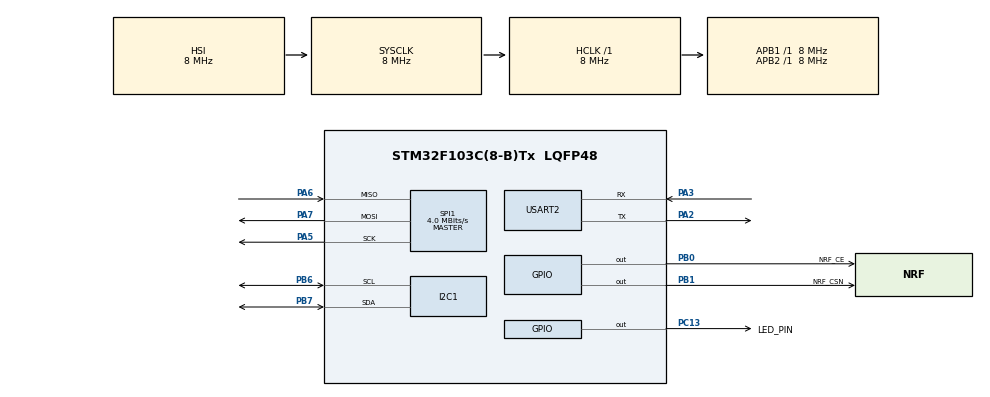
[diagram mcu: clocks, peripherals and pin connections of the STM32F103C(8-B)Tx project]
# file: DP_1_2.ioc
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Mcu.Family=STM32F1
Mcu.Name=STM32F103C(8-B)Tx
Mcu.Package=LQFP48
NVIC.PriorityGroup=NVIC_PRIORITYGROUP_4
NVIC.USART2_IRQn=true\:0\:0\:false\:false\:true\:true\:true\:true
PA13.Mode=Serial_Wire
PA13.Signal=SYS_JTMS-SWDIO
PA14.Mode=Serial_Wire
PA14.Signal=SYS_JTCK-SWCLK
PA2.Mode=Asynchronous
PA2.Signal=USART2_TX
PA3.Mode=Asynchronous
PA3.Signal=USART2_RX
PA5.Mode=Full_Duplex_Master
PA5.Signal=SPI1_SCK
PA6.Mode=Full_Duplex_Master
PA6.Signal=SPI1_MISO
PA7.Mode=Full_Duplex_Master
PA7.Signal=SPI1_MOSI
PB0.GPIO_Label=NRF_CE
PB0.Signal=GPIO_Output
PB1.GPIO_Label=NRF_CSN
PB1.Signal=GPIO_Output
PB6.Mode=I2C
PB6.Signal=I2C1_SCL
PB7.Mode=I2C
PB7.Signal=I2C1_SDA
PC13-TAMPER-RTC.GPIO_Label=LED_PIN
PC13-TAMPER-RTC.Signal=GPIO_Output
ProjectManager.HeapSize=0x200
ProjectManager.StackSize=0x400
ProjectManager.TargetToolchain=STM32CubeIDE
RCC.AHBFreq_Value=8000000
RCC.APB1Freq_Value=8000000
RCC.APB1TimFreq_Value=8000000
RCC.APB2Freq_Value=8000000
RCC.APB2TimFreq_Value=8000000
RCC.HCLKFreq_Value=8000000
RCC.SYSCLKFreq_VALUE=8000000
RCC.USBFreq_Value=8000000
SPI1.CalculateBaudRate=4.0 MBits/s
SPI1.Direction=SPI_DIRECTION_2LINES
SPI1.Mode=SPI_MODE_MASTER
SPI1.VirtualType=VM_MASTER
USART2.VirtualMode=VM_ASYNC
board=custom

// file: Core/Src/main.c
/* USER CODE BEGIN Header */
/**
 ******************************************************************************
 * @file           : main.c
 * @brief          : Main program body
 ******************************************************************************
 * @attention
 *
 * Copyright (c) 2024 STMicroelectronics.
 * All rights reserved.
 *
 * This software is licensed under terms that can be found in the LICENSE file
 * in the root directory of this software component.
 * If no LICENSE file comes with this software, it is provided AS-IS.
 *
 ******************************************************************************
 */
/* USER CODE END Header */
#include "main.h"

/* USER CODE BEGIN Includes */
#include<stdbool.h>
#include "utility.h"
#include "ee.h"
#include "nrf_helper.h"
#include "ADP8XX_DP_SENSOR.h"
/* USER CODE END Includes */

/* USER CODE BEGIN PD */
#define Debug_Port &huart2
#define PIPE_ADDR_FOR_NRF 0X800F000

/* USER CODE END PD */

I2C_HandleTypeDef hi2c1;

SPI_HandleTypeDef hspi1;

UART_HandleTypeDef huart2;

void SystemClock_Config(void);
static void MX_GPIO_Init(void);
static void MX_SPI1_Init(void);
static void MX_USART2_UART_Init(void);
static void MX_I2C1_Init(void);

/* USER CODE BEGIN 0 */
/*============HANDLE DEBUG PORT DATA===============*/
uint8_t rx_buffer_pos;
uint8_t rx_data[2];
uint8_t received_data_from_UART[32];
bool data_avlbl_from_UART_to_read = false;
extern uint64_t My_Pipe_Address;
/* USER CODE END 0 */

int main(void) {

	/* MCU Configuration--------------------------------------------------------*/

	/* Reset of all peripherals, Initializes the Flash interface and the Systick. */
	HAL_Init();

	/* Configure the system clock */
	SystemClock_Config();

	/* Initialize all configured peripherals */
	MX_GPIO_Init();
	MX_SPI1_Init();
	MX_USART2_UART_Init();
	MX_I2C1_Init();
	/* USER CODE BEGIN 2 */
	HAL_UART_Receive_IT(Debug_Port, (uint8_t*) rx_data, 1);
	Print_Debug_Data((char*) "[SETUP STAGE] MSIOT DP SENSOR STARTED\n");
	uint64_t READ_PIPE_ADRESS = ee_read_64(PIPE_ADDR_FOR_NRF);
	My_Pipe_Address = READ_PIPE_ADRESS;
	nrf_init();
	HAL_StatusTypeDef DP_STATUS = dp_sens_init();
	if (DP_STATUS != HAL_OK) {
		Print_Debug_Data((char*) "[SETUP] DP SENSOR INIT ERROR \n");
		return;
	}
	Print_Debug_Data((char*) "[SETUP] COMPLETED\n");
	/* USER CODE END 2 */

	/* Infinite loop */
	while (1) {

		/* USER CODE BEGIN 3 */
		HAL_GPIO_TogglePin(LED_PIN_GPIO_Port, LED_PIN_Pin);
		HAL_Delay(100);
		//CHECK FOR DATA FROM UART PORT
		if (data_avlbl_from_UART_to_read) {
			Print_Debug_Data(
					(char*) "\nMSG received from UART DEBUG PORT ::> ");
			HAL_UART_Transmit(&huart2, received_data_from_UART, 32, 100);
			Print_Debug_Data((char*) "\n");
			Manage_Received_Data_From_UART((uint8_t*) received_data_from_UART,
					32);
			//AFTER USING THE DATA CLEAR THE RX BUFFER
			uint8_t i;
			if (rx_buffer_pos == 0) { //RESET THE BUFFER ONLY WHEN RX { BUFFER == 0 }
				for (i = 0; i < 20; i++)
					received_data_from_UART[i] = 0;
			}
			data_avlbl_from_UART_to_read = false;
		}
		//CHECK FOR DATA FROM NRF
		if (NRF24_available()) {
			HANDLE_RECEIVED_MESSAGE_FROM_GATEWAY();
		}
	}
	/* USER CODE END 3 */
}

void SystemClock_Config(void) {
	RCC_OscInitTypeDef RCC_OscInitStruct = { 0 };
	RCC_ClkInitTypeDef RCC_ClkInitStruct = { 0 };

	/** Initializes the RCC Oscillators according to the specified parameters
	 * in the RCC_OscInitTypeDef structure.
	 */
	RCC_OscInitStruct.OscillatorType = RCC_OSCILLATORTYPE_HSI;
	RCC_OscInitStruct.HSIState = RCC_HSI_ON;
	RCC_OscInitStruct.HSICalibrationValue = RCC_HSICALIBRATION_DEFAULT;
	RCC_OscInitStruct.PLL.PLLState = RCC_PLL_NONE;
	if (HAL_RCC_OscConfig(&RCC_OscInitStruct) != HAL_OK) {
		Error_Handler();
	}

	/** Initializes the CPU, AHB and APB buses clocks
	 */
	RCC_ClkInitStruct.ClockType = RCC_CLOCKTYPE_HCLK | RCC_CLOCKTYPE_SYSCLK
			| RCC_CLOCKTYPE_PCLK1 | RCC_CLOCKTYPE_PCLK2;
	RCC_ClkInitStruct.SYSCLKSource = RCC_SYSCLKSOURCE_HSI;
	RCC_ClkInitStruct.AHBCLKDivider = RCC_SYSCLK_DIV1;
	RCC_ClkInitStruct.APB1CLKDivider = RCC_HCLK_DIV1;
	RCC_ClkInitStruct.APB2CLKDivider = RCC_HCLK_DIV1;

	if (HAL_RCC_ClockConfig(&RCC_ClkInitStruct, FLASH_LATENCY_0) != HAL_OK) {
		Error_Handler();
	}
}

static void MX_I2C1_Init(void) {

	hi2c1.Instance = I2C1;
	hi2c1.Init.ClockSpeed = 100000;
	hi2c1.Init.DutyCycle = I2C_DUTYCYCLE_2;
	hi2c1.Init.OwnAddress1 = 0;
	hi2c1.Init.AddressingMode = I2C_ADDRESSINGMODE_7BIT;
	hi2c1.Init.DualAddressMode = I2C_DUALADDRESS_DISABLE;
	hi2c1.Init.OwnAddress2 = 0;
	hi2c1.Init.GeneralCallMode = I2C_GENERALCALL_DISABLE;
	hi2c1.Init.NoStretchMode = I2C_NOSTRETCH_DISABLE;
	if (HAL_I2C_Init(&hi2c1) != HAL_OK) {
		Error_Handler();
	}

}

static void MX_SPI1_Init(void) {

	/* SPI1 parameter configuration*/
	hspi1.Instance = SPI1;
	hspi1.Init.Mode = SPI_MODE_MASTER;
	hspi1.Init.Direction = SPI_DIRECTION_2LINES;
	hspi1.Init.DataSize = SPI_DATASIZE_8BIT;
	hspi1.Init.CLKPolarity = SPI_POLARITY_LOW;
	hspi1.Init.CLKPhase = SPI_PHASE_1EDGE;
	hspi1.Init.NSS = SPI_NSS_SOFT;
	hspi1.Init.BaudRatePrescaler = SPI_BAUDRATEPRESCALER_2;
	hspi1.Init.FirstBit = SPI_FIRSTBIT_MSB;
	hspi1.Init.TIMode = SPI_TIMODE_DISABLE;
	hspi1.Init.CRCCalculation = SPI_CRCCALCULATION_DISABLE;
	hspi1.Init.CRCPolynomial = 10;
	if (HAL_SPI_Init(&hspi1) != HAL_OK) {
		Error_Handler();
	}

}

static void MX_USART2_UART_Init(void) {

	huart2.Instance = USART2;
	huart2.Init.BaudRate = 115200;
	huart2.Init.WordLength = UART_WORDLENGTH_8B;
	huart2.Init.StopBits = UART_STOPBITS_1;
	huart2.Init.Parity = UART_PARITY_NONE;
	huart2.Init.Mode = UART_MODE_TX_RX;
	huart2.Init.HwFlowCtl = UART_HWCONTROL_NONE;
	huart2.Init.OverSampling = UART_OVERSAMPLING_16;
	if (HAL_UART_Init(&huart2) != HAL_OK) {
		Error_Handler();
	}

}

static void MX_GPIO_Init(void) {
	GPIO_InitTypeDef GPIO_InitStruct = { 0 };

	/* GPIO Ports Clock Enable */
	__HAL_RCC_GPIOC_CLK_ENABLE();
	__HAL_RCC_GPIOA_CLK_ENABLE();
	__HAL_RCC_GPIOB_CLK_ENABLE();

	/*Configure GPIO pin Output Level */
	HAL_GPIO_WritePin(LED_PIN_GPIO_Port, LED_PIN_Pin, GPIO_PIN_RESET);

	/*Configure GPIO pin Output Level */
	HAL_GPIO_WritePin(GPIOB, NRF_CE_Pin | NRF_CSN_Pin, GPIO_PIN_RESET);

	/*Configure GPIO pin : LED_PIN_Pin */
	GPIO_InitStruct.Pin = LED_PIN_Pin;
	GPIO_InitStruct.Mode = GPIO_MODE_OUTPUT_PP;
	GPIO_InitStruct.Pull = GPIO_NOPULL;
	GPIO_InitStruct.Speed = GPIO_SPEED_FREQ_LOW;
	HAL_GPIO_Init(LED_PIN_GPIO_Port, &GPIO_InitStruct);

	/*Configure GPIO pins : NRF_CE_Pin NRF_CSN_Pin */
	GPIO_InitStruct.Pin = NRF_CE_Pin | NRF_CSN_Pin;
	GPIO_InitStruct.Mode = GPIO_MODE_OUTPUT_PP;
	GPIO_InitStruct.Pull = GPIO_NOPULL;
	GPIO_InitStruct.Speed = GPIO_SPEED_FREQ_LOW;
	HAL_GPIO_Init(GPIOB, &GPIO_InitStruct);

}

/* USER CODE BEGIN 4 */
void HAL_UART_RxCpltCallback(UART_HandleTypeDef *huart) {
	/* Prevent unused argument(s) compilation warning */
	UNUSED(huart);
	/* NOTE: This function should not be modified, when the callback is needed,
	 the HAL_UART_RxCpltCallback could be implemented in the user file
	 */
	if (huart->Instance == USART2) {
		if (rx_data[0] != '/') { //if it is not equal to 'COMMAND END' then write data into INCREMENTED POS of rx_buffer
			received_data_from_UART[rx_buffer_pos++] = rx_data[0];

		} else { // HERE IT MEANS if(rx_data[0] == '/') IF it is equal to 'COMMAND END' then clear the buffer, compare data and move on
			rx_buffer_pos = 0;
			//USE THE DATA RECEIVED FROM INTERRUTP HERE
			data_avlbl_from_UART_to_read = true;
			//process the data, and clear the buffer
		}
		HAL_UART_Receive_IT(&huart2, rx_data, 1); //REINIT THE UART INTERRUPT NOW
	}
}
/* USER CODE END 4 */

void Error_Handler(void) {
	__disable_irq();
	while (1) {
	}
}
